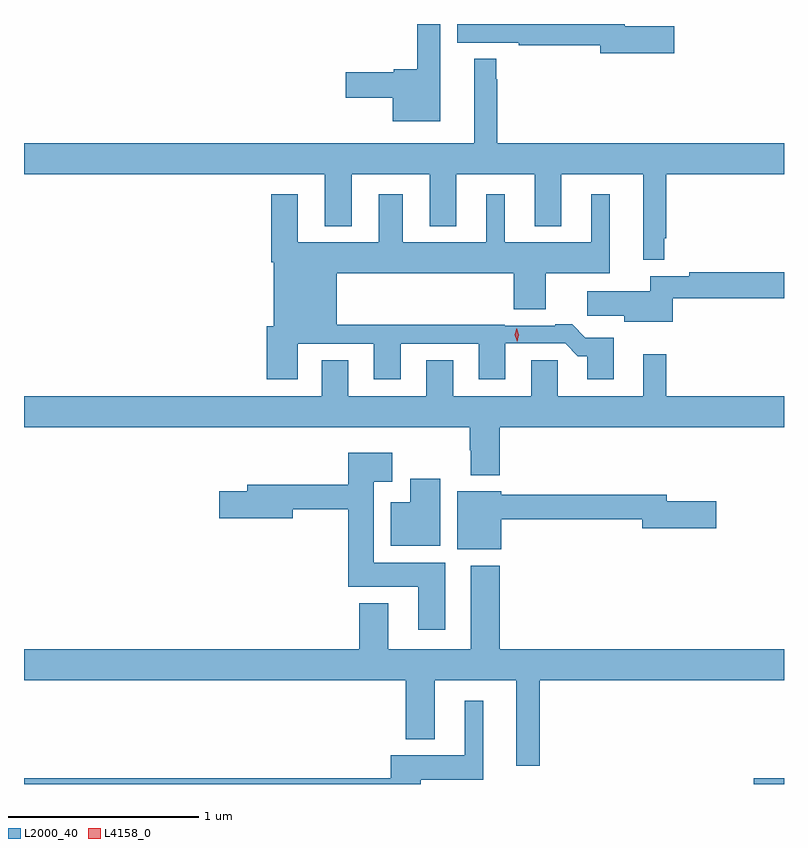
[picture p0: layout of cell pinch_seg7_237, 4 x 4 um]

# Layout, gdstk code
import gdstk
lib = gdstk.Library(unit=1e-6, precision=1e-09)
def R(c, l, rs):  # rectangles x0, y0, x1, y1
    for r in rs: c.add(gdstk.rectangle(r[:2], r[2:], *l))
def P(c, l, *ps):  # polygons
    for p in ps: c.add(gdstk.Polygon(p, *l))
L2000_40 = (2000, 40)
L4158_0 = (4158, 0)

pinch_seg7_237 = lib.new_cell('pinch_seg7_237')
R(pinch_seg7_237, L2000_40, [(829.043,1022.715,829.203,1022.744)])
P(pinch_seg7_237, L2000_40, [(827.395,1026.715),(827.274,1026.715),(827.274,1026.478),(827.148,1026.478),(827.148,1026.461),(826.896,1026.461),(826.896,1026.326),(827.144,1026.326),(827.144,1026.203),(827.395,1026.203)],
  [(828.625,1026.704),(828.364,1026.704),(828.364,1026.715),(827.483,1026.715),(827.483,1026.617),(827.806,1026.617),(827.806,1026.604),(828.236,1026.604),(828.236,1026.562),(828.625,1026.562)],
  [(827.695,1026.425),(827.688,1026.425),(827.688,1026.532),(827.573,1026.532),(827.573,1026.088),(825.203,1026.088),(825.203,1025.924),(826.787,1025.924),(826.787,1025.651),(826.927,1025.651),(826.927,1025.924),(827.339,1025.924),(827.339,1025.651),(827.479,1025.651),(827.479,1025.924),(827.891,1025.924),(827.891,1025.651),(828.031,1025.651),(828.031,1025.924),(828.461,1025.924),(828.461,1025.475),(828.574,1025.475),(828.574,1025.587),(828.583,1025.587),(828.583,1025.924),(829.203,1025.924),(829.203,1026.088),(827.695,1026.088)],
  [(826.645,1025.031),(827.045,1025.031),(827.045,1024.845),(827.185,1024.845),(827.185,1025.031),(827.597,1025.031),(827.597,1024.845),(827.737,1024.845),(827.737,1025.034),(828.051,1025.034),(828.118,1024.967),(828.167,1024.967),(828.167,1024.845),(828.307,1024.845),(828.307,1025.065),(828.158,1025.065),(828.089,1025.135),(827.999,1025.135),(827.999,1025.127),(827.733,1025.127),(827.733,1025.132),(826.849,1025.132),(826.849,1025.402),(827.78,1025.402),(827.78,1025.214),(827.95,1025.214),(827.95,1025.402),(828.286,1025.402),(828.286,1025.818),(828.188,1025.818),(828.188,1025.566),(827.734,1025.566),(827.734,1025.818),(827.636,1025.818),(827.636,1025.566),(827.197,1025.566),(827.197,1025.818),(827.069,1025.818),(827.069,1025.566),(826.645,1025.566),(826.645,1025.818),(826.505,1025.818),(826.505,1025.462),(826.517,1025.462),(826.517,1025.124),(826.481,1025.124),(826.481,1024.845),(826.645,1024.845)],
  [(828.617,1025.272),(829.203,1025.272),(829.203,1025.408),(828.704,1025.408),(828.704,1025.388),(828.5,1025.388),(828.5,1025.308),(828.168,1025.308),(828.168,1025.179),(828.362,1025.179),(828.362,1025.147),(828.617,1025.147)],
  [(827.548,1024.472),(827.555,1024.472),(827.555,1024.34),(827.708,1024.34),(827.708,1024.592),(829.203,1024.592),(829.203,1024.756),(828.583,1024.756),(828.583,1024.978),(828.461,1024.978),(828.461,1024.756),(828.012,1024.756),(828.012,1024.946),(827.873,1024.946),(827.873,1024.756),(827.461,1024.756),(827.461,1024.946),(827.321,1024.946),(827.321,1024.756),(826.909,1024.756),(826.909,1024.946),(826.769,1024.946),(826.769,1024.756),(825.203,1024.756),(825.203,1024.592),(827.548,1024.592)],
  [(827.419,1023.88),(827.044,1023.88),(827.044,1024.307),(827.14,1024.307),(827.14,1024.459),(826.91,1024.459),(826.91,1024.291),(826.379,1024.291),(826.379,1024.257),(826.23,1024.257),(826.23,1024.115),(826.618,1024.115),(826.618,1024.162),(826.91,1024.162),(826.91,1023.752),(827.279,1023.752),(827.279,1023.528),(827.419,1023.528)],
  [(827.395,1024.321),(827.237,1024.321),(827.237,1024.198),(827.132,1024.198),(827.132,1023.968),(827.395,1023.968)],
  [(827.716,1024.108),(828.458,1024.108),(828.458,1024.061),(828.847,1024.061),(828.847,1024.203),(828.586,1024.203),(828.586,1024.237),(827.716,1024.237),(827.716,1024.255),(827.483,1024.255),(827.483,1023.95),(827.716,1023.95)],
  [(827.917,1023.26),(829.203,1023.26),(829.203,1023.424),(827.708,1023.424),(827.708,1023.865),(827.555,1023.865),(827.555,1023.424),(827.119,1023.424),(827.119,1023.667),(826.967,1023.667),(826.967,1023.424),(825.203,1023.424),(825.203,1023.26),(827.213,1023.26),(827.213,1022.951),(827.365,1022.951),(827.365,1023.26),(827.795,1023.26),(827.795,1022.811),(827.917,1022.811)],
  [(827.29,1022.738),(827.62,1022.738),(827.62,1023.154),(827.522,1023.154),(827.522,1022.866),(827.132,1022.866),(827.132,1022.744),(825.203,1022.744),(825.203,1022.715),(827.29,1022.715)])
P(pinch_seg7_237, L4158_0, [(827.798,1025.043),(827.798,1025.043),(827.787,1025.079),(827.796,1025.115),(827.796,1025.115),(827.796,1025.115),(827.807,1025.079),(827.799,1025.043)])

lib.write_gds('pinch_seg7_237.gds')
